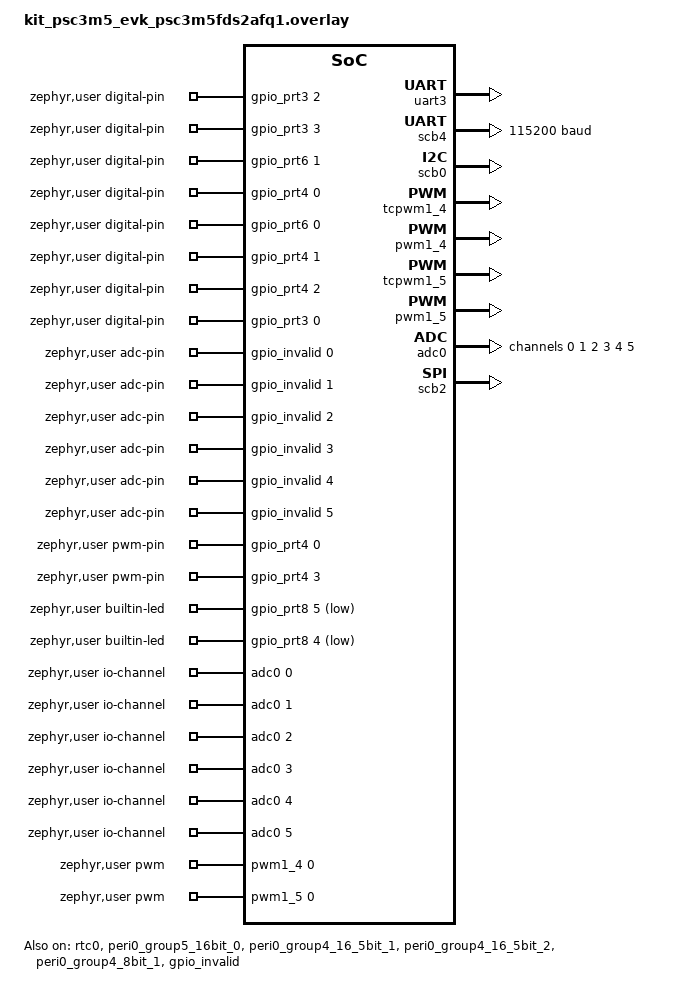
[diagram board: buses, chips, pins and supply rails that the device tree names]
/*
 * Copyright (c) Arduino s.r.l. and/or its affiliated companies
 *
 * SPDX-License-Identifier: Apache-2.0
 */

#include <zephyr/dt-bindings/adc/adc.h>
#include <zephyr/dt-bindings/pwm/pwm.h>

/*
 * Arduino overlay for the Infineon KIT_PSC3M5_EVK.
 *
 * This board defines real GPIOs and the UART node in the upstream Zephyr DTS:
 * - user LED aliases: user_led0 -> GPIO port 8 pin 5, user_led1 -> GPIO port 8 pin 4
 * - user buttons: SW_1 -> GPIO port 5 pin 0, SW_2 -> GPIO port 2 pin 0
 * - serial console: uart3 -> scb3 on pins P6_3/P6_2
 * - Arduino SPI header: scb2 on P7.0/P7.1/P7.2, with P7.3 as GPIO chip select
 *
 * The board has Uno R3-compatible headers, but the upstream DTS does not define
 * Arduino pin aliases. Header mappings follow the official BSP's design.modus:
 * https://github.com/Infineon/TARGET_KIT_PSC3M5_EVK/blob/master/config/design.modus
 */

&flash0 {
	partitions {
		compatible = "fixed-partitions";
		#address-cells = <1>;
		#size-cells = <1>;

		/* Offset within flash0; keep the first 144 KiB for the loader. */
		user_sketch: partition@24000 {
			label = "user_sketch";
			reg = <0x24000 DT_SIZE_K(40)>;
		};
	};
};

/ {
	/* Placeholder controller for analog-only pins, as used by other variants. */
	gpio_invalid: gpio@deadbeef {
		compatible = "vnd,gpio";
		gpio-controller;
		reg = <0xdeadbeef 0x1000>;
		#gpio-cells = <0x2>;
		status = "okay";
	};

	zephyr,user {
		digital-pin-gpios = <&gpio_prt3 2 0>,               /* D0 / header RX */
				   <&gpio_prt3 3 0>,               /* D1 / header TX */
				   <&gpio_prt6 1 0>,               /* D2 */
				   <&gpio_prt4 0 0>,               /* D3 */
				   <&gpio_prt6 0 0>,               /* D4 */
				   <&gpio_prt4 1 0>,               /* D5 */
				   <&gpio_prt4 2 0>,               /* D6 */
				   <&gpio_prt3 0 0>,               /* D7 */
				   <&gpio_prt7 6 0>,               /* D8 */
				   <&gpio_prt4 3 0>,               /* D9 */
				   <&gpio_prt7 3 0>,               /* D10 / SPI SS */
				   <&gpio_prt7 1 0>,               /* D11 / SPI MOSI */
				   <&gpio_prt7 2 0>,               /* D12 / SPI MISO */
				   <&gpio_prt7 0 0>,               /* D13 / SPI SCK */
				   <&gpio_prt9 2 0>,               /* D14 / header SDA */
				   <&gpio_prt9 0 0>,               /* D15 / header SCL */
				   <&gpio_prt8 5 GPIO_ACTIVE_LOW>, /* D16 / LED_0 */
				   <&gpio_prt8 4 GPIO_ACTIVE_LOW>, /* D17 / LED_1 */
				   <&gpio_prt5 0 GPIO_PULL_UP>,    /* D18 / SW_1 */
				   <&gpio_prt2 0 GPIO_PULL_UP>,    /* D19 / SW_2 */
				   <&gpio_prt6 2 0>,               /* D20 / debug UART RX */
				   <&gpio_prt6 3 0>,               /* D21 / debug UART TX */
				   <&gpio_invalid 0 0>,            /* A0 (analog only) */
				   <&gpio_invalid 1 0>,            /* A1 (analog only) */
				   <&gpio_invalid 2 0>,            /* A2 (analog only) */
				   <&gpio_invalid 3 0>,            /* A3 (analog only) */
				   <&gpio_invalid 4 0>,            /* A4 (analog only) */
				   <&gpio_invalid 5 0>;            /* A5 (analog only) */

		/* Dedicated ADC inputs have no GPIO controller; use the placeholder one. */
		adc-pin-gpios = <&gpio_invalid 0 0>, <&gpio_invalid 1 0>,
				<&gpio_invalid 2 0>, <&gpio_invalid 3 0>,
				<&gpio_invalid 4 0>, <&gpio_invalid 5 0>;
		io-channels = <&adc0 0>, <&adc0 1>, <&adc0 2>,
			      <&adc0 3>, <&adc0 4>, <&adc0 5>;

		/* D5/D6 share these timers; expose only independent D3/D9 outputs. */
		pwm-pin-gpios = <&gpio_prt4 0 0>, <&gpio_prt4 3 0>;
		/* D9 uses line_compl, so invert it for an active-high duty cycle. */
		pwms = <&pwm1_4 0 PWM_HZ(500) PWM_POLARITY_NORMAL>,
		       <&pwm1_5 0 PWM_HZ(500) PWM_POLARITY_INVERTED>;

		builtin-led-gpios = <&gpio_prt8 5 GPIO_ACTIVE_LOW>,
				    <&gpio_prt8 4 GPIO_ACTIVE_LOW>;

		serials = <&uart3>, <&uart4>;
		cans = <&can1>;
		i2cs = <&scb0>;
		spis = <&scb2>;
	};
};

&slot0_partition {
	reg = <0x12000000 DT_SIZE_K(144)>;
};

&uart3 {
	status = "okay";
	/* P6.0/P6.1 are D4/D2, not debug UART flow-control pins. */
	pinctrl-0 = <&p6_3_scb3_uart_tx &p6_2_scb3_uart_rx>;
};

uart4: &scb4 {
	compatible = "infineon,uart";
	status = "okay";
	current-speed = <115200>;
	clocks = <&peri0_group4_8bit_1>;
	pinctrl-0 = <&p3_2_scb4_uart_rx &p3_3_scb4_uart_tx>;
	pinctrl-names = "default";
};

&rtc0 {
	status = "okay";
};

&scb0 {
	compatible = "infineon,i2c";
	status = "okay";
	#address-cells = <1>;
	#size-cells = <0>;
	clocks = <&peri0_group4_16_5bit_2>;
	pinctrl-0 = <&p9_0_scb0_i2c_scl &p9_2_scb0_i2c_sda>;
	pinctrl-names = "default";
};

&p9_0_scb0_i2c_scl {
	drive-open-drain;
	input-enable;
};

&p9_2_scb0_i2c_sda {
	drive-open-drain;
	input-enable;
};

&p3_2_scb4_uart_rx {
	input-enable;
};

&p3_3_scb4_uart_tx {
	drive-push-pull;
};

&gpio_prt4 {
	status = "okay";
};

&gpio_prt7 {
	status = "okay";
};

&gpio_prt9 {
	status = "okay";
};

&peri0_group5_16bit_0 {
	status = "okay";
	clock-div = <100>;
};

&tcpwm1_4 {
	status = "okay";
};

&pwm1_4 {
	status = "okay";
	zephyr,deferred-init;
	clocks = <&peri0_group5_16bit_0>;
	pinctrl-0 = <&p4_0_pwm1_4>;
	pinctrl-1 = <&p4_0_pwm1_4>;
	pinctrl-names = "default", "arduino";
};

&tcpwm1_5 {
	status = "okay";
};

&pwm1_5 {
	status = "okay";
	zephyr,deferred-init;
	clocks = <&peri0_group5_16bit_0>;
	pinctrl-0 = <&p4_3_pwm1_5>;
	pinctrl-1 = <&p4_3_pwm1_5>;
	pinctrl-names = "default", "arduino";
};

&p4_0_pwm1_4 {
	drive-push-pull;
};

&p4_3_pwm1_5 {
	drive-push-pull;
};

&adc0 {
	status = "okay";
	ref-internal-source;
	#address-cells = <1>;
	#size-cells = <0>;

	channel@0 {
		reg = <0>;
		zephyr,gain = "ADC_GAIN_1";
		zephyr,reference = "ADC_REF_INTERNAL";
		zephyr,acquisition-time = <ADC_ACQ_TIME_DEFAULT>;
		zephyr,resolution = <12>;
	};

	channel@1 {
		reg = <1>;
		zephyr,gain = "ADC_GAIN_1";
		zephyr,reference = "ADC_REF_INTERNAL";
		zephyr,acquisition-time = <ADC_ACQ_TIME_DEFAULT>;
		zephyr,resolution = <12>;
	};

	channel@2 {
		reg = <2>;
		zephyr,gain = "ADC_GAIN_1";
		zephyr,reference = "ADC_REF_INTERNAL";
		zephyr,acquisition-time = <ADC_ACQ_TIME_DEFAULT>;
		zephyr,resolution = <12>;
	};

	channel@3 {
		reg = <3>;
		zephyr,gain = "ADC_GAIN_1";
		zephyr,reference = "ADC_REF_INTERNAL";
		zephyr,acquisition-time = <ADC_ACQ_TIME_DEFAULT>;
		zephyr,resolution = <12>;
	};

	channel@4 {
		reg = <4>;
		zephyr,gain = "ADC_GAIN_1";
		zephyr,reference = "ADC_REF_INTERNAL";
		zephyr,acquisition-time = <ADC_ACQ_TIME_DEFAULT>;
		zephyr,resolution = <12>;
	};

	channel@5 {
		reg = <5>;
		zephyr,gain = "ADC_GAIN_1";
		zephyr,reference = "ADC_REF_INTERNAL";
		zephyr,acquisition-time = <ADC_ACQ_TIME_DEFAULT>;
		zephyr,resolution = <12>;
	};
};

/* SPI changes its divider at runtime; keep CAN on its own divider. */
&peri0_group4_16_5bit_1 {
	status = "okay";
	clock-div = <1>;
};

&peri0_group4_16_5bit_2 {
	status = "okay";
	clock-div = <1>;
};

&peri0_group4_8bit_1 {
	status = "okay";
	clock-div = <86>;
};

&scb2 {
	compatible = "infineon,spi";
	#address-cells = <1>;
	#size-cells = <0>;
	status = "okay";
	clocks = <&peri0_group4_16_5bit_1>;
	pinctrl-0 = <&p7_0_scb2_spi_m_clk &p7_1_scb2_spi_m_mosi
		     &p7_2_scb2_spi_m_miso>;
	pinctrl-names = "default";
};

&p7_0_scb2_spi_m_clk {
	drive-push-pull;
};

&p7_1_scb2_spi_m_mosi {
	drive-push-pull;
};

&p7_2_scb2_spi_m_miso {
	input-enable;
};
